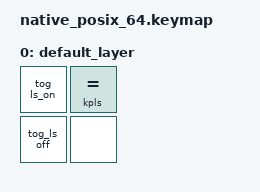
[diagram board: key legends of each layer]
#include <dt-bindings/zmk/keys.h>
#include <behaviors.dtsi>
#include <dt-bindings/zmk/kscan_mock.h>
#include <layout_shift.dtsi>

&tog_ls_on { layout-maps = <&layout_shift_map_us_to_jis>; };
&tog_ls_off { layout-maps = <&layout_shift_map_us_to_jis>; };

&kscan {
    events = <
        ZMK_MOCK_PRESS(0,0,10)
        ZMK_MOCK_RELEASE(0,0,10)
        ZMK_MOCK_PRESS(0,1,10)
        ZMK_MOCK_RELEASE(0,1,10)
        ZMK_MOCK_PRESS(1,0,10)
        ZMK_MOCK_RELEASE(1,0,10)
        ZMK_MOCK_PRESS(0,1,10)
        ZMK_MOCK_RELEASE(0,1,10)
    >;
};

/ {
    keymap {
        compatible = "zmk,keymap";

        default_layer {
            bindings = <
                &tog_ls_on &kpls EQUAL
                &tog_ls_off &none
            >;
        };
    };
};
